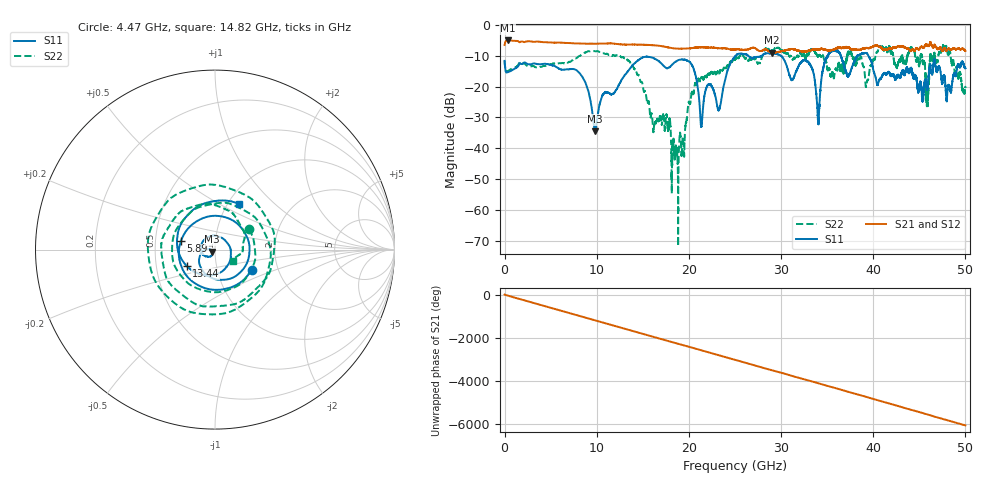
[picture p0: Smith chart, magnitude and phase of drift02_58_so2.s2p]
!Created with skrf (http://scikit-rf.org).
# Hz S RI R 50.0
!freq ReS11 ImS11 ReS21 ImS21 ReS12 ImS12 ReS22 ImS22
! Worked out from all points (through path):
!   10001 points, 300 kHz to 50 GHz, reference 50 ohm
!   highest |S21| = -5.04 dB at 325.3 MHz (marker M1); lowest = -9.0 dB at 29.05 GHz (marker M2)
!   group delay of S21, straight-line fit = 336 ps
!   lowest |S11| = -34.5 dB at 9.84 GHz (marker M3), VSWR 1.04, Z = 48.5 - j1.06 ohm
!   |S11| at or under -10 dB: start of sweep to 25.07 GHz; 29.97 GHz to 35.04 GHz (5.074 GHz wide, 15.6 % of centre); 39.48 GHz to end of sweep (the widest 3 of 9)
!   |S22| runs from -71.7 to -6.5 dB; largest |S21 - S12| = 0.022
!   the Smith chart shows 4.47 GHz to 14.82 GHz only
!   S11 on the Smith chart (normalised r, x): 4.47 GHz: 1.46, -0.35; 5.89 GHz: 0.68, +0.07; 13.44 GHz: 0.72, -0.13; 14.82 GHz: 1.12, +0.63
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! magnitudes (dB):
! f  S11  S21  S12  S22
! 300 kHz  -11.7  -6.5  -6.4  -11.5
! 325.3 MHz  -15.4  -5.0  -5.0  -15.0
! 4.47 GHz  -12.6  -5.6  -5.6  -13.2
! 5.89 GHz  -14.2  -5.7  -5.7  -12.5
! 8.335 GHz  -16.4  -6.0  -6.0  -9.6
! 9.84 GHz  -34.5  -6.1  -6.1  -8.5
! 13.44 GHz  -14.8  -6.4  -6.4  -11.6
! 14.82 GHz  -10.8  -6.4  -6.4  -18.5
! 16.67 GHz  -11.6  -6.7  -6.7  -31.2
! 18.67 GHz  -11.8  -7.7  -7.7  -40.0
! 20.37 GHz  -13.3  -7.5  -7.5  -22.0
! 21.37 GHz  -32.4  -7.2  -7.2  -16.9
! 23.31 GHz  -27.3  -7.6  -7.6  -15.6
! 25 GHz  -10.3  -7.9  -8.0  -11.2
! 29.05 GHz  -9.1  -9.0  -9.0  -8.2
! 33.34 GHz  -14.0  -8.0  -8.2  -8.1
! 34.02 GHz  -31.3  -7.9  -7.9  -10.2
! 35.54 GHz  -8.4  -8.1  -8.1  -15.5
! 41.67 GHz  -15.3  -7.7  -7.8  -7.5
! 45.87 GHz  -20.1  -6.8  -6.9  -24.7
! 47.75 GHz  -17.0  -7.4  -7.5  -7.8
! 50 GHz  -14.0  -8.4  -8.4  -20.4
